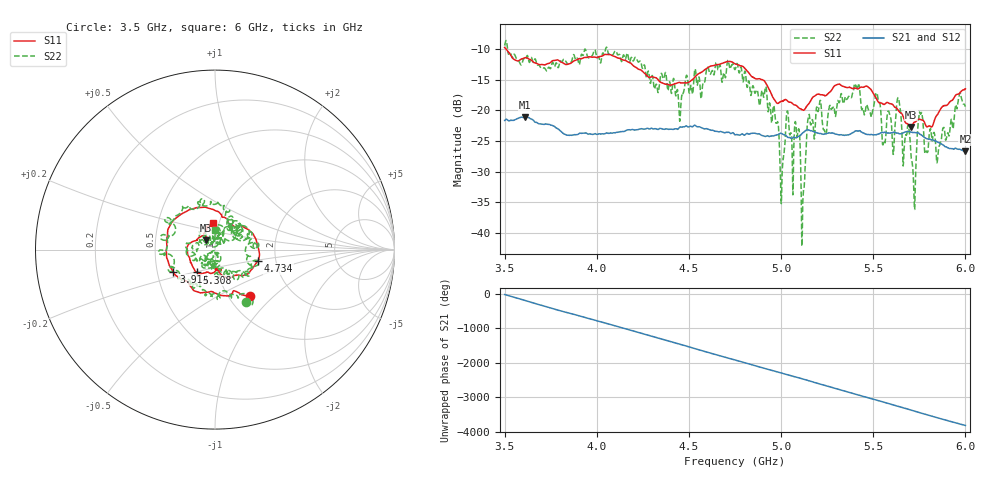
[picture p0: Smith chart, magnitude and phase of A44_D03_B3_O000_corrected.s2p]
! Created with skrf 1.9.0 (http://scikit-rf.org).
# Hz S RI R 50.0
!freq ReS11 ImS11 ReS21 ImS21 ReS12 ImS12 ReS22 ImS22
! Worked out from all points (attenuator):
!   1601 points, 3.5 GHz to 6 GHz, reference 50 ohm
!   highest |S21| = -21.10 dB at 3.611 GHz (marker M1); lowest = -26.7 dB at 6 GHz (marker M2)
!   lowest |S11| = -22.7 dB at 5.703 GHz (marker M3), VSWR 1.16, Z = 44.9 + j4.66 ohm
!   |S11| at or under -10 dB: 3.507 GHz to end of sweep
!   |S22| runs from -42.2 to -8.6 dB; largest |S21 - S12| = 0.001
!   S11 on the Smith chart (normalised r, x): 3.5 GHz: 1.25, -0.72; 3.914 GHz: 0.61, -0.16; 4.734 GHz: 1.61, -0.22; 5.308 GHz: 0.79, -0.21; 6 GHz: 0.94, +0.29
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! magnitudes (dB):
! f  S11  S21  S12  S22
! 3.5 GHz  -9.8  -21.7  -21.7  -9.5
! 3.611 GHz  -11.4  -21.1  -21.1  -11.8
! 3.914 GHz  -11.6  -23.7  -23.7  -11.1
! 3.917 GHz  -11.6  -23.8  -23.7  -10.9
! 4.334 GHz  -15.1  -23.1  -23.0  -17.0
! 4.734 GHz  -12.1  -23.7  -23.7  -12.6
! 4.75 GHz  -12.4  -24.0  -23.9  -13.4
! 4.912 GHz  -15.3  -24.3  -24.2  -16.7
! 5.005 GHz  -18.5  -23.8  -23.8  -31.1
! 5.033 GHz  -18.4  -24.3  -24.3  -20.1
! 5.088 GHz  -19.4  -24.4  -24.4  -24.2
! 5.119 GHz  -20.0  -23.7  -23.6  -34.3
! 5.145 GHz  -19.1  -23.2  -23.2  -21.6
! 5.167 GHz  -18.1  -23.4  -23.3  -21.7
! 5.308 GHz  -15.8  -24.0  -23.9  -18.4
! 5.584 GHz  -18.9  -23.7  -23.7  -20.2
! 5.638 GHz  -20.1  -23.8  -23.8  -18.1
! 5.703 GHz  -22.7  -23.6  -23.6  -26.5
! 5.72 GHz  -22.0  -23.6  -23.6  -32.9
! 5.755 GHz  -21.5  -23.9  -23.9  -20.5
! 5.852 GHz  -20.6  -25.2  -25.2  -27.2
! 6 GHz  -16.5  -26.7  -26.6  -19.4
